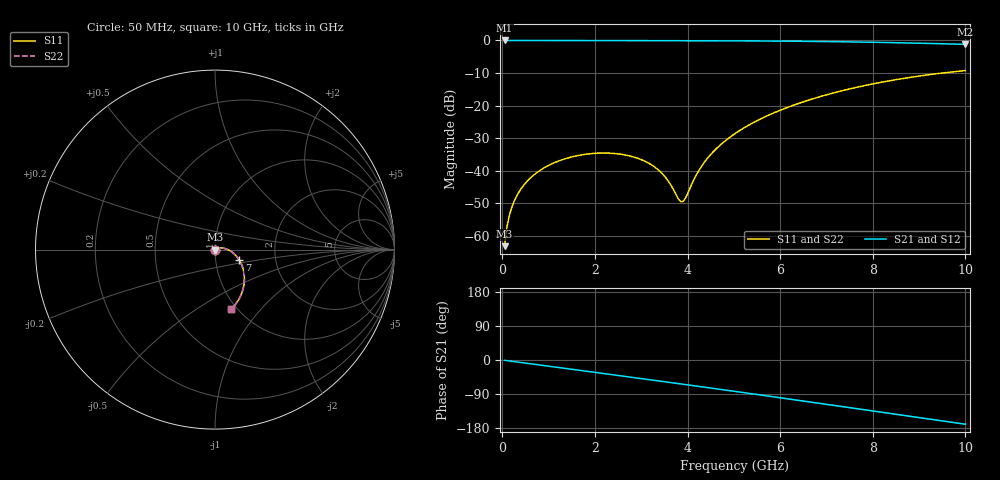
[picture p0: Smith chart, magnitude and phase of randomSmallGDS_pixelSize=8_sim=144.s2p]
! freq	dB(S11)	phase(S11)	dB(S12)	phase(S12)
!  dB(S21)	phase(S21)	dB(S22)	phase(S22)
!S-par simulation data
#  GHz  S  DB  R 50
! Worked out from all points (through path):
!   200 points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, 50 MHz to 10 GHz, reference 50 ohm
!   highest |S21| = 0.00 dB at 50 MHz (marker M1); lowest = -1.2 dB at 10 GHz (marker M2)
!   group delay of S21, straight-line fit = 47.2 ps
!   lowest |S11| = -63.2 dB at 50 MHz (marker M3), VSWR 1.00, Z = 50 - j0.0694 ohm
!   |S11| at or under -10 dB: start of sweep to 9.505 GHz
!   |S22| runs from -63.2 to -9.3 dB; largest |S21 - S12| = 0
!   S11 on the Smith chart (normalised r, x): 50 MHz: 1.00, -0.00; 7 GHz: 1.30, -0.15; 10 GHz: 0.94, -0.71
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0.05  -63.17 -90.2  -0.00 -0.8  -0.00 -0.8  -63.16 -90.2
0.1  -57.26 -92.6  -0.00 -1.6  -0.00 -1.6  -57.26 -92.6
0.2  -51.45 -95.1  -0.00 -3.3  -0.00 -3.3  -51.45 -95.1
0.35  -46.78 -97.6  -0.00 -5.7  -0.00 -5.7  -46.78 -97.6
0.5  -43.82 -100.1  -0.01 -8.2  -0.01 -8.2  -43.82 -100.1
1  -38.36 -108.7  -0.02 -16.3  -0.02 -16.3  -38.36 -108.6
1.75  -35.05 -122.1  -0.03 -28.5  -0.03 -28.5  -35.05 -122.1
2.7  -35.30 -140.7  -0.05 -44.1  -0.05 -44.1  -35.30 -140.6
3.1  -37.23 -150.7  -0.05 -50.6  -0.05 -50.6  -37.24 -150.5
3.4  -40.14 -161.6  -0.06 -55.6  -0.06 -55.6  -40.16 -161.3
3.6  -43.50 -175.1  -0.07 -58.9  -0.07 -58.9  -43.54 -174.6
3.8  -48.57 149.0  -0.07 -62.2  -0.07 -62.2  -48.70 149.5
3.9  -49.50 110.5  -0.07 -63.9  -0.07 -63.9  -49.68 110.3
4.2  -41.02 46.0  -0.08 -68.9  -0.08 -68.9  -41.06 45.5
4.4  -36.72 33.8  -0.09 -72.3  -0.09 -72.3  -36.73 33.4
4.7  -32.19 23.3  -0.10 -77.3  -0.10 -77.3  -32.19 23.0
5.05  -28.36 14.5  -0.12 -83.3  -0.12 -83.3  -28.37 14.3
5.8  -22.64 -0.9  -0.18 -96.1  -0.18 -96.1  -22.64 -1.0
6.7  -17.94 -17.6  -0.29 -111.7  -0.29 -111.7  -17.94 -17.7
7  -16.70 -23.0  -0.34 -117.0  -0.34 -117.0  -16.70 -23.1
8.35  -12.41 -47.0  -0.65 -140.8  -0.65 -140.8  -12.41 -47.0
10  -9.25 -75.2  -1.20 -169.5  -1.20 -169.5  -9.25 -75.2
